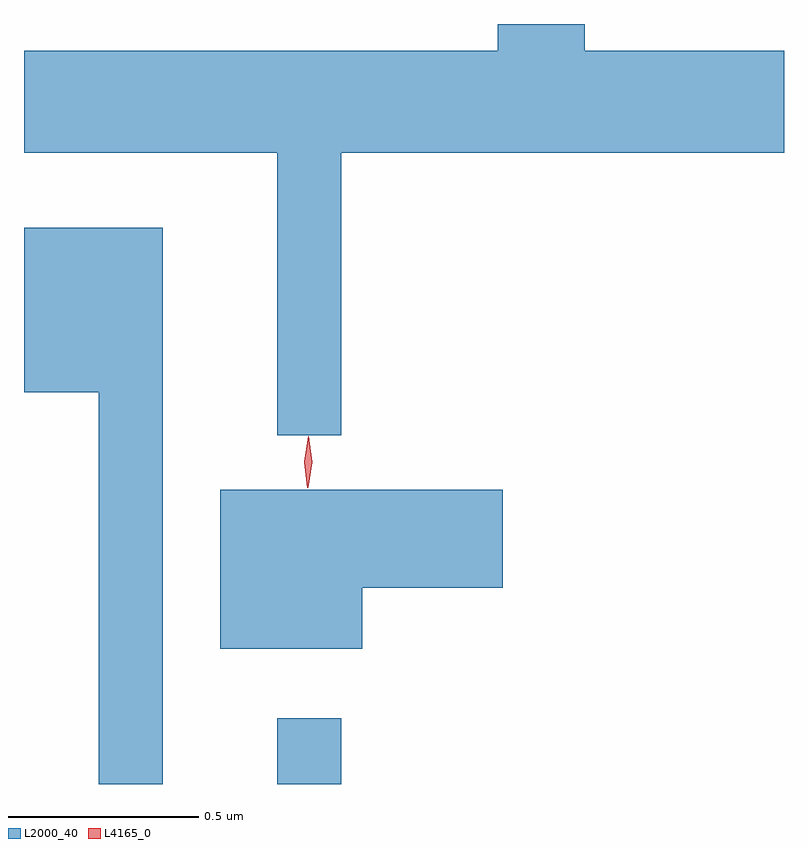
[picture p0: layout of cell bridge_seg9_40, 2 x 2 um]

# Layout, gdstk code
import gdstk
lib = gdstk.Library(unit=1e-6, precision=1e-09)
def R(c, l, rs):  # rectangles x0, y0, x1, y1
    for r in rs: c.add(gdstk.rectangle(r[:2], r[2:], *l))
def P(c, l, *ps):  # polygons
    for p in ps: c.add(gdstk.Polygon(p, *l))
L2000_40 = (2000, 40)
L4165_0 = (4165, 0)

bridge_seg9_40 = lib.new_cell('bridge_seg9_40')
R(bridge_seg9_40, L2000_40, [(1596.111,2045.655,1596.279,2045.828)])
P(bridge_seg9_40, L2000_40, [(1596.279,2047.316),(1597.444,2047.316),(1597.444,2047.584),(1596.919,2047.584),(1596.919,2047.655),(1596.691,2047.655),(1596.691,2047.584),(1595.444,2047.584),(1595.444,2047.316),(1596.111,2047.316),(1596.111,2046.573),(1596.279,2046.573)],
  [(1595.809,2047.119),(1595.444,2047.119),(1595.444,2046.686),(1595.641,2046.686),(1595.641,2045.655),(1595.809,2045.655)],
  [(1596.334,2046.171),(1596.704,2046.171),(1596.704,2046.429),(1595.961,2046.429),(1595.961,2046.011),(1596.334,2046.011)])
P(bridge_seg9_40, L4165_0, [(1596.19,2046.434),(1596.182,2046.502),(1596.192,2046.57),(1596.192,2046.57),(1596.193,2046.57),(1596.202,2046.502),(1596.192,2046.434),(1596.191,2046.434)],
  [(1596.19,2046.44),(1596.19,2046.441),(1596.182,2046.504),(1596.192,2046.566),(1596.192,2046.567),(1596.193,2046.566),(1596.202,2046.503),(1596.191,2046.441)])

lib.write_gds('bridge_seg9_40.gds')
